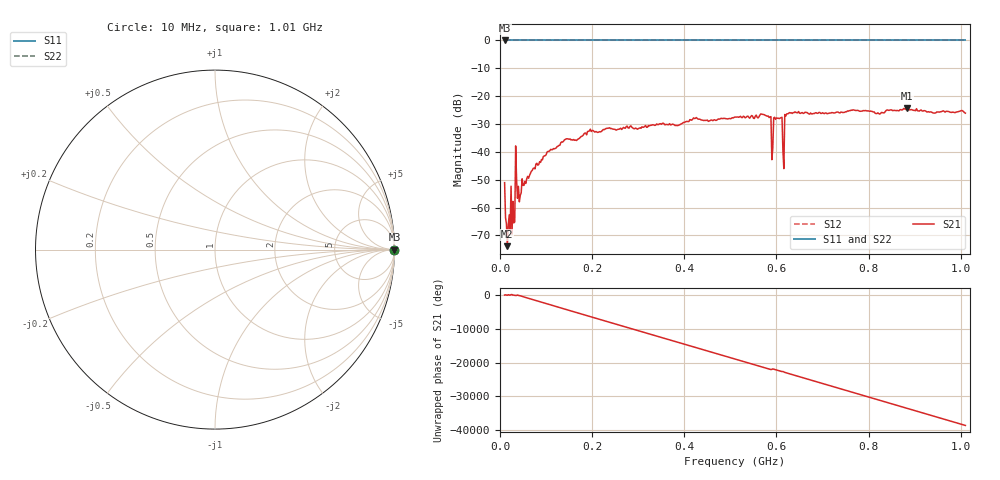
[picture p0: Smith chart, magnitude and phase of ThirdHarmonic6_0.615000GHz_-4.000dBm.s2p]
! 8/15/2025 8:10:29 PM
! C:\ANRITSUVNA\TEMP\TEMP.S2P
! CHANNEL.1
! TR.MEASUREMENT
! RAW.DATA
! RF.CORRECTION.OFF
! AVERAGING.OFF
! IF.BANDWIDTH: 5KHZ
! SWEEPTYPE:  FREQ.SWEEP(Linear)
! Reference Plane Port Info
! PORT:  PORT1  PORT2
! DISTANCE:  0  m  0  m
! TIME:  0  s  0  s
! PHASE.OFFSET:  0  deg.  0  deg.
! LOSS:  0  dB  0  dB
! REF.LOSS:  0  dB  0  dB
! REF.FREQ:  0  Hz  0  Hz
! Power Info
! POWER:  -20  dBm  -20  dBm
! EFF.POWER:  -20  dBm  -20  dBm
! SOURCE.ATTEN:  0  dB  0  dB
! TEST.ATTEN:  0  dB  0  dB
# GHZ S RI R 50.0
! FREQ.GHZ  S11RE  S11IM  S21RE  S21IM  S12RE  S12IM  S22RE  S22IM
!; PortSelection: Port_12
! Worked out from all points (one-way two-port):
!   501 points, 10 MHz to 1.01 GHz, reference 50 ohm
!   highest |S21| = -24.26 dB at 884 MHz (marker M1); lowest = -73.9 dB at 16 MHz (marker M2)
!   lowest |S11| = 0.0 dB at 10 MHz (marker M3)
!   |S11| at or under -10 dB: nowhere
!   |S22| runs from 0.0 to 0.0 dB; largest |S21 - S12| = 1.1
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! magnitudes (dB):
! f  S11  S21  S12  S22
! 10 MHz  0.0  -51.1  0.0  0.0
! 16 MHz  0.0  -73.9  0.0  0.0
! 28 MHz  0.0  -57.8  0.0  0.0
! 32 MHz  0.0  -65.2  0.0  0.0
! 38 MHz  0.0  -56.7  0.0  0.0
! 42 MHz  0.0  -57.9  0.0  0.0
! 106 MHz  0.0  -39.8  0.0  0.0
! 178 MHz  0.0  -34.4  0.0  0.0
! 344 MHz  0.0  -30.2  0.0  0.0
! 510 MHz  0.0  -27.5  0.0  0.0
! 584 MHz  0.0  -27.7  0.0  0.0
! 588 MHz  0.0  -27.3  0.0  0.0
! 594 MHz  0.0  -27.8  0.0  0.0
! 598 MHz  0.0  -28.3  0.0  0.0
! 608 MHz  0.0  -27.9  0.0  0.0
! 612 MHz  0.0  -27.6  0.0  0.0
! 618 MHz  0.0  -26.6  0.0  0.0
! 622 MHz  0.0  -26.4  0.0  0.0
! 678 MHz  0.0  -26.4  0.0  0.0
! 844 MHz  0.0  -25.1  0.0  0.0
! 884 MHz  0.0  -24.3  0.0  0.0
! 1.01 GHz  0.0  -26.1  0.0  0.0
